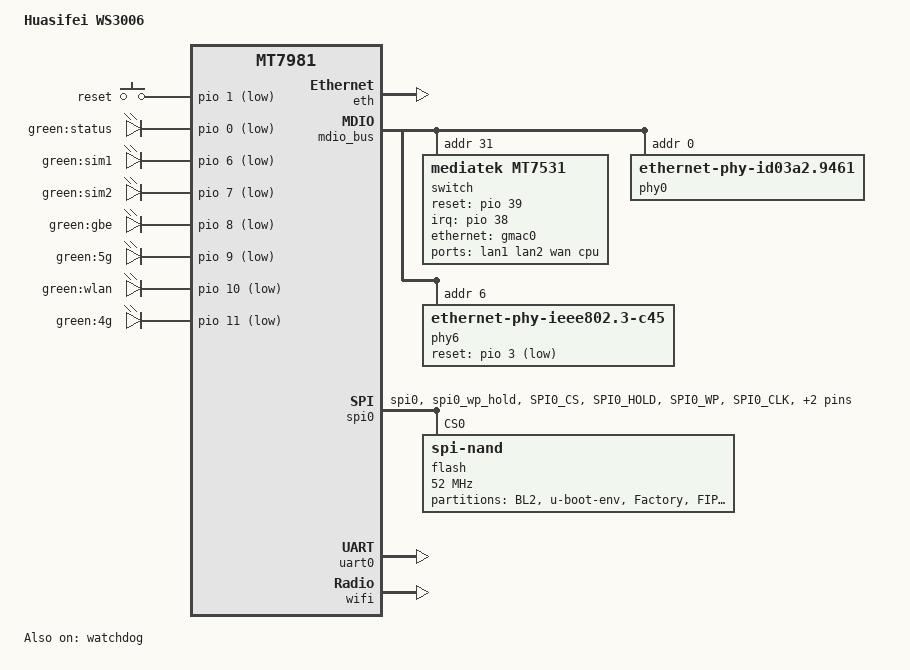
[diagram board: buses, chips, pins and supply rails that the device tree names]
// SPDX-License-Identifier: (GPL-2.0 OR MIT)

/dts-v1/;

#include <dt-bindings/gpio/gpio.h>
#include <dt-bindings/input/input.h>
#include <dt-bindings/leds/common.h>

#include "mt7981.dtsi"

/ {
	model = "Huasifei WS3006";
	compatible = "huasifei,ws3006", "mediatek,mt7981";

	aliases {
		label-mac-device = &gmac0;
		led-boot = &led_status;
		led-failsafe = &led_status;
		led-running = &led_status;
		led-upgrade = &led_status;
		serial0 = &uart0;
	};

	chosen {
		stdout-path = "serial0:115200n8";
	};

	gpio-keys {
		compatible = "gpio-keys";

		reset {
			label = "reset";
			linux,code = <KEY_RESTART>;
			gpios = <&pio 1 GPIO_ACTIVE_LOW>;
		};
	};

	leds {
		compatible = "gpio-leds";

		led_status: led-0 {
			label = "green:status";
			gpios = <&pio 0 GPIO_ACTIVE_LOW>;
		};

		led-1 {
			label = "green:sim1";
			gpios = <&pio 6 GPIO_ACTIVE_LOW>;
		};

		led-2 {
			label = "green:sim2";
			gpios = <&pio 7 GPIO_ACTIVE_LOW>;
		};

		led-3 {
			label = "green:gbe";
			gpios = <&pio 8 GPIO_ACTIVE_LOW>;
		};

		led-4 {
			label = "green:5g";
			gpios = <&pio 9 GPIO_ACTIVE_LOW>;
		};

		led-5 {
			label = "green:wlan";
			gpios = <&pio 10 GPIO_ACTIVE_LOW>;
		};

		led-6 {
			label = "green:4g";
			gpios = <&pio 11 GPIO_ACTIVE_LOW>;
		};
	};
};

&eth {
	pinctrl-names = "default";
	pinctrl-0 = <&mdio_pins>;
	status = "okay";

	gmac0: mac@0 {
		compatible = "mediatek,eth-mac";
		reg = <0>;
		phy-mode = "2500base-x";

		nvmem-cells = <&macaddr_factory_4 1>;
		nvmem-cell-names = "mac-address";

		fixed-link {
			speed = <2500>;
			full-duplex;
			pause;
		};
	};

	gmac1: mac@1 {
		compatible = "mediatek,eth-mac";
		reg = <1>;
		phy-handle = <&phy0>;
		phy-mode = "2500base-x";

		nvmem-cells = <&macaddr_factory_4 2>;
		nvmem-cell-names = "mac-address";
	};
};

&mdio_bus {
	switch: switch@1f {
		compatible = "mediatek,mt7531";
		reg = <31>;
		reset-gpios = <&pio 39 GPIO_ACTIVE_HIGH>;
		interrupt-controller;
		#interrupt-cells = <1>;
		interrupt-parent = <&pio>;
		interrupts = <38 IRQ_TYPE_LEVEL_HIGH>;
	};

	phy0: ethernet-phy@0 {
		compatible = "ethernet-phy-id03a2.9461";
		reg = <0>;
		phy-mode = "gmii";
		nvmem-cells = <&phy_calibration>;
		nvmem-cell-names = "phy-cal-data";
	};

	phy6: ethernet-phy@6 {
		compatible = "ethernet-phy-ieee802.3-c45";
		reg = <6>;
		reset-assert-us = <100000>;
		reset-deassert-us = <100000>;
		reset-gpios = <&pio 3 GPIO_ACTIVE_LOW>;
	};
};

&spi0 {
	pinctrl-names = "default";
	pinctrl-0 = <&spi0_flash_pins>;
	status = "okay";

	flash@0 {
		compatible = "spi-nand";
		#address-cells = <1>;
		#size-cells = <1>;
		reg = <0>;

		spi-max-frequency = <52000000>;
		spi-tx-bus-width = <4>;
		spi-rx-bus-width = <4>;

		mediatek,nmbm;
		mediatek,bmt-max-ratio = <1>;
		mediatek,bmt-max-reserved-blocks = <64>;

		partitions {
			compatible = "fixed-partitions";
			#address-cells = <1>;
			#size-cells = <1>;

			partition@0 {
				label = "BL2";
				reg = <0x0 0x100000>;
				read-only;
			};

			partition@100000 {
				label = "u-boot-env";
				reg = <0x100000 0x80000>;
			};

			partition@180000 {
				label = "Factory";
				reg = <0x180000 0x200000>;
				read-only;

				nvmem-layout {
					compatible = "fixed-layout";
					#address-cells = <1>;
					#size-cells = <1>;

					eeprom_factory_0: eeprom@0 {
						reg = <0x0 0x1000>;
					};

					macaddr_factory_4: macaddr@4 {
						compatible = "mac-base";
						reg = <0x4 0x6>;
						#nvmem-cell-cells = <1>;
					};
				};
			};

			partition@380000 {
				label = "FIP";
				reg = <0x380000 0x200000>;
			};

			partition@580000 {
				label = "ubi";
				reg = <0x580000 0x6e00000>;
			};

			partition@7380000 {
				label = "config";
				reg = <0x7380000 0x80000>;
			};
		};
	};
};

&pio {
	spi0_flash_pins: spi0-pins {
		mux {
			function = "spi";
			groups = "spi0", "spi0_wp_hold";
		};
		conf-pu {
			pins = "SPI0_CS", "SPI0_HOLD", "SPI0_WP";
			drive-strength = <MTK_DRIVE_8mA>;
			bias-pull-up = <MTK_PUPD_SET_R1R0_11>;
		};

		conf-pd {
			pins = "SPI0_CLK", "SPI0_MOSI", "SPI0_MISO";
			drive-strength = <MTK_DRIVE_8mA>;
			bias-pull-down = <MTK_PUPD_SET_R1R0_11>;
		};
	};
};

&switch {
	ports {
		#address-cells = <1>;
		#size-cells = <0>;

		port@0 {
			reg = <0>;
			label = "lan1";
		};

		port@1 {
			reg = <1>;
			label = "lan2";
		};

		port@5 {
			reg = <5>;
			label = "wan";
			phy-handle = <&phy6>;
			phy-mode = "2500base-x";
		};

		port@6 {
			reg = <6>;
			label = "cpu";
			ethernet = <&gmac0>;
			phy-mode = "2500base-x";

			fixed-link {
				speed = <2500>;
				full-duplex;
				pause;
			};
		};
	};
};

&uart0 {
	status = "okay";
};

&watchdog {
	status = "okay";
};

&wifi {
	status = "okay";
	nvmem-cells = <&eeprom_factory_0>;
	nvmem-cell-names = "eeprom";
};
